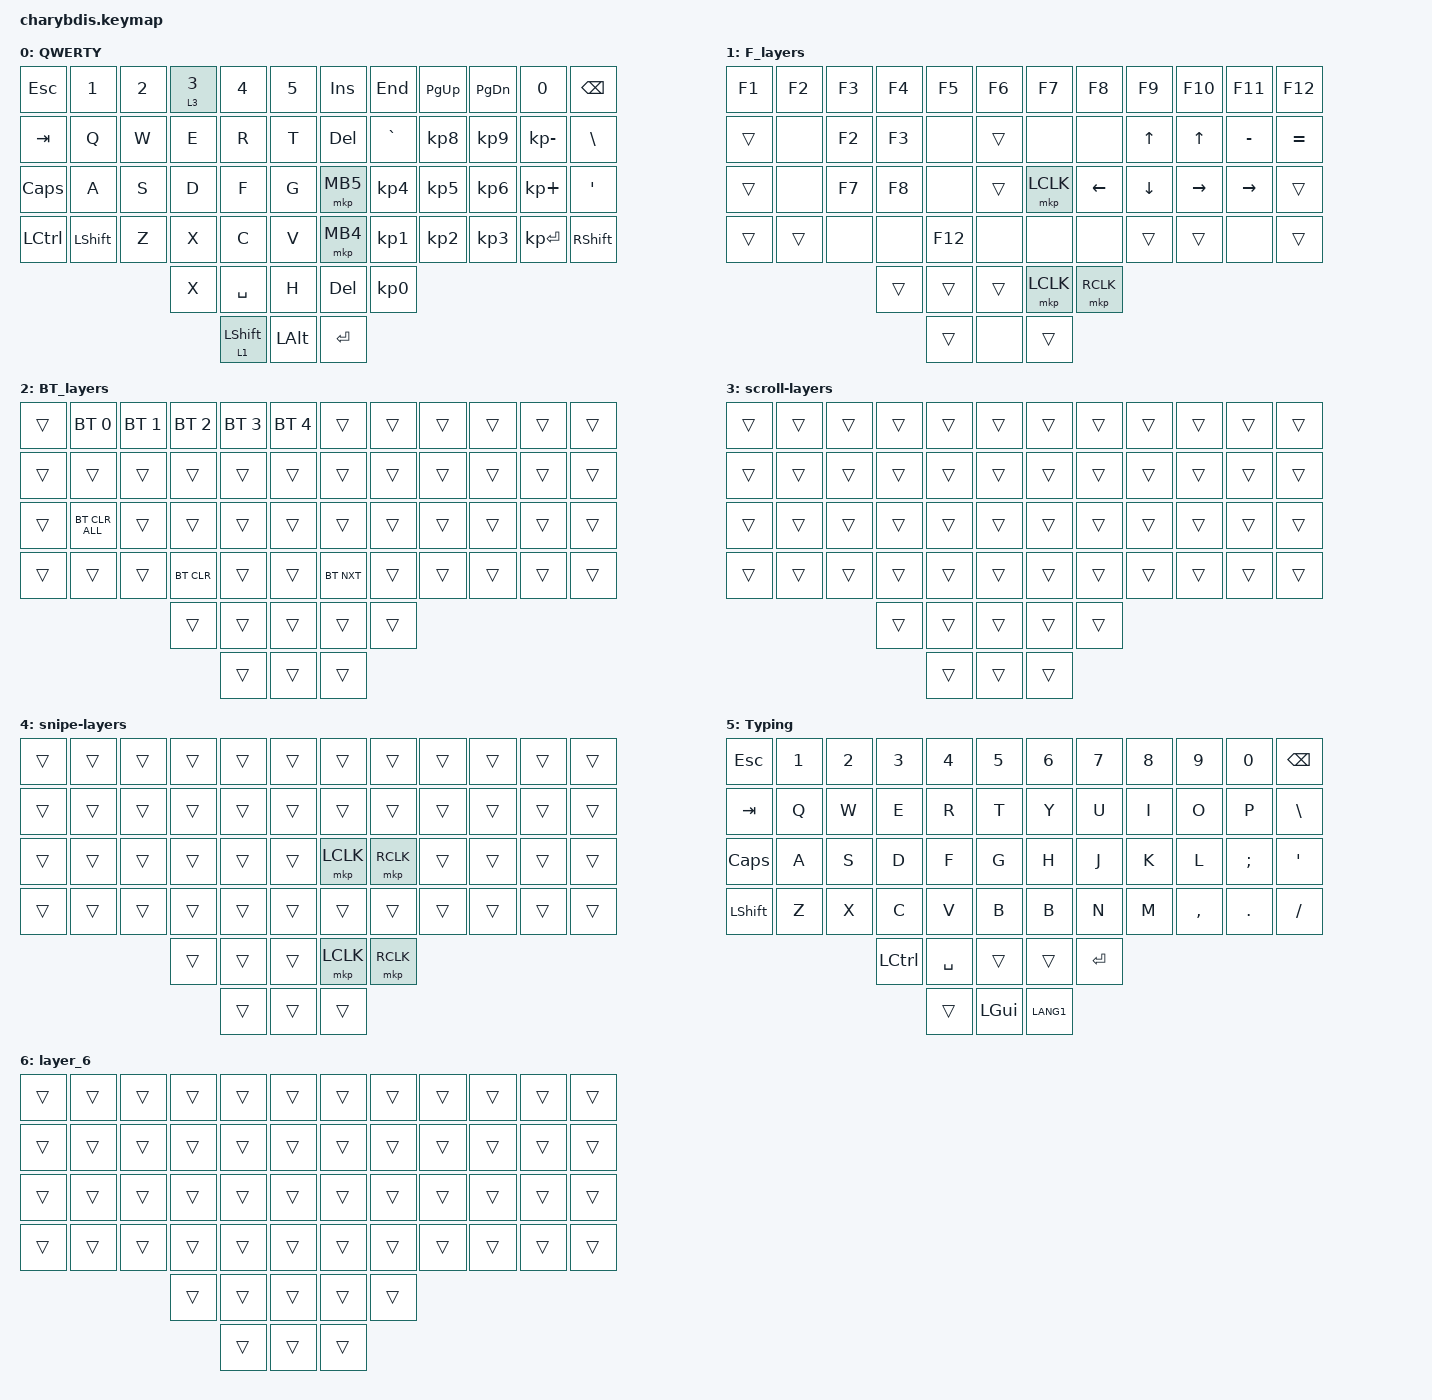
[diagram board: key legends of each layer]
#include <behaviors.dtsi>
#include <dt-bindings/zmk/bt.h>
#include <dt-bindings/zmk/keys.h>
#include <dt-bindings/zmk/pointing.h>
#include <dt-bindings/zmk/rgb.h>

&lt {
    tapping-term-ms = <200>;
    flavor = "balanced";
    quick-tap-ms = <150>;
};

/ {
    macros {
        To1_macro: To1_macro {
            compatible = "zmk,behavior-macro";
            label = "To1_macro";
            #binding-cells = <0>;
            bindings = <&rgb_ug RGB_EFF &rgb_ug RGB_COLOR_HSB(128,100,50) &to 1>;
        };

        To0_macro: To0_macro {
            compatible = "zmk,behavior-macro";
            label = "To0_macro";
            #binding-cells = <0>;
            bindings = <&rgb_ug RGB_EFR &to 0>;
        };

        To2_macro: To2_macro {
            compatible = "zmk,behavior-macro";
            label = "To2_macro";
            #binding-cells = <0>;
            bindings =
                <&to 2>,
                <&macro_wait_time 30>,
                <&rgb_ug RGB_COLOR_HSB(250,100,50)>;
        };
    };

    combos {
        compatible = "zmk,combos";

        Layertogle {
            bindings = <&tog 5>;
            key-positions = <30 19>;
        };

        leftclick {
            bindings = <&mkp LCLK>;
            key-positions = <43 44>;
        };

        rightclick {
            bindings = <&mkp RCLK>;
            key-positions = <44 45>;
        };

        q {
            bindings = <&kp COMMA>;
            key-positions = <25 14>;
            require-prior-idle-ms = <111>;
            timeout-ms = <35>;
        };

        w {
            bindings = <&kp F4>;
            key-positions = <25 15>;
            timeout-ms = <35>;
            require-prior-idle-ms = <111>;
        };

        e {
            bindings = <&kp F3>;
            key-positions = <25 16>;
            timeout-ms = <35>;
            require-prior-idle-ms = <111>;
        };

        a {
            bindings = <&kp I>;
            key-positions = <25 26>;
            timeout-ms = <35>;
            require-prior-idle-ms = <111>;
        };

        s {
            bindings = <&kp F7>;
            key-positions = <25 27>;
            timeout-ms = <35>;
            require-prior-idle-ms = <111>;
        };

        d {
            bindings = <&kp F8>;
            key-positions = <25 28>;
            timeout-ms = <35>;
            require-prior-idle-ms = <111>;
        };

        x {
            bindings = <&kp EQUAL>;
            key-positions = <25 39>;
            timeout-ms = <35>;
            require-prior-idle-ms = <111>;
        };

        c {
            bindings = <&kp RBKT>;
            key-positions = <25 40>;
            timeout-ms = <35>;
            require-prior-idle-ms = <111>;
        };

        v {
            bindings = <&kp F12>;
            key-positions = <25 41>;
            timeout-ms = <35>;
            require-prior-idle-ms = <111>;
        };

        scrolllayer {
            bindings = <&mo 3>;
            key-positions = <3 16>;
        };

        btl {
            bindings = <&tog 2>;
            key-positions = <35 47>;
        };
    };

    keymap {
        compatible = "zmk,keymap";

        QWERTY {
            bindings = <
&kp ESC       &kp N1          &kp N2  &lt 3 N3  &kp N4            &kp N5          &kp INS     &kp END          &kp PG_UP        &kp PG_DN        &kp N0        &kp BACKSPACE
&kp TAB       &kp Q           &kp W   &kp E     &kp R             &kp T           &kp DEL     &kp GRAVE        &kp KP_NUMBER_8  &kp KP_NUMBER_9  &kp KP_MINUS  &kp BSLH
&kp CAPSLOCK  &kp A           &kp S   &kp D     &kp F             &kp G           &mkp MB5    &kp KP_NUMBER_4  &kp KP_NUMBER_5  &kp KP_NUMBER_6  &kp KP_PLUS   &kp SQT
&kp LCTRL     &kp LEFT_SHIFT  &kp Z   &kp X     &kp C             &kp V           &mkp MB4    &kp KP_N1        &kp KP_N2        &kp KP_N3        &kp KP_ENTER  &kp RIGHT_SHIFT
                                      &kp X     &kp SPACE         &kp H           &kp DELETE  &kp KP_N0
                                                &lt 1 LEFT_SHIFT  &kp LEFT_ALT    &kp ENTER
            >;
        };

        F_layers {
            bindings = <
&kp F1  &kp F2  &kp F3  &kp F4  &kp F5   &kp F6    &kp F7     &kp F8     &kp F9    &kp F10       &kp F11    &kp F12
&trans  &none   &kp F2  &kp F3  &none    &trans    &none      &none      &kp UP    &kp UP_ARROW  &kp MINUS  &kp EQUAL
&trans  &none   &kp F7  &kp F8  &none    &trans    &mkp LCLK  &kp LEFT   &kp DOWN  &kp RIGHT     &kp RIGHT  &trans
&trans  &trans  &none   &none   &kp F12  &none     &none      &none      &trans    &trans        &none      &trans
                        &trans  &trans   &trans    &mkp LCLK  &mkp RCLK
                                &trans   &none     &trans
            >;
        };

        BT_layers {
            bindings = <
&trans  &bt BT_SEL 0    &bt BT_SEL 1  &bt BT_SEL 2  &bt BT_SEL 3  &bt BT_SEL 4    &trans      &trans  &trans  &trans  &trans  &trans
&trans  &trans          &trans        &trans        &trans        &trans          &trans      &trans  &trans  &trans  &trans  &trans
&trans  &bt BT_CLR_ALL  &trans        &trans        &trans        &trans          &trans      &trans  &trans  &trans  &trans  &trans
&trans  &trans          &trans        &bt BT_CLR    &trans        &trans          &bt BT_NXT  &trans  &trans  &trans  &trans  &trans
                                      &trans        &trans        &trans          &trans      &trans
                                                    &trans        &trans          &trans
            >;
        };

        scroll-layers {
            bindings = <
&trans  &trans  &trans  &trans  &trans  &trans    &trans  &trans  &trans  &trans  &trans  &trans
&trans  &trans  &trans  &trans  &trans  &trans    &trans  &trans  &trans  &trans  &trans  &trans
&trans  &trans  &trans  &trans  &trans  &trans    &trans  &trans  &trans  &trans  &trans  &trans
&trans  &trans  &trans  &trans  &trans  &trans    &trans  &trans  &trans  &trans  &trans  &trans
                        &trans  &trans  &trans    &trans  &trans
                                &trans  &trans    &trans
            >;
        };

        snipe-layers {
            bindings = <
&trans  &trans  &trans  &trans  &trans  &trans    &trans     &trans     &trans  &trans  &trans  &trans
&trans  &trans  &trans  &trans  &trans  &trans    &trans     &trans     &trans  &trans  &trans  &trans
&trans  &trans  &trans  &trans  &trans  &trans    &mkp LCLK  &mkp RCLK  &trans  &trans  &trans  &trans
&trans  &trans  &trans  &trans  &trans  &trans    &trans     &trans     &trans  &trans  &trans  &trans
                        &trans  &trans  &trans    &mkp LCLK  &mkp RCLK
                                &trans  &trans    &trans
            >;
        };

        Typing {
            bindings = <
&kp ESC    &kp N1  &kp N2  &kp N3     &kp N4     &kp N5      &kp N6     &kp N7     &kp N8  &kp N9     &kp N0      &kp BSPC
&kp TAB    &kp Q   &kp W   &kp E      &kp R      &kp T       &kp Y      &kp U      &kp I   &kp O      &kp P       &kp BSLH
&kp CAPS   &kp A   &kp S   &kp D      &kp F      &kp G       &kp H      &kp J      &kp K   &kp L      &kp SEMI    &kp APOS
&kp LSHFT  &kp Z   &kp X   &kp C      &kp V      &kp B       &kp B      &kp N      &kp M   &kp COMMA  &kp PERIOD  &kp FSLH
                           &kp LCTRL  &kp SPACE  &trans      &trans     &kp ENTER
                                      &trans     &kp LGUI    &kp LANG1
            >;
        };

        layer_6 {
            bindings = <
&trans  &trans  &trans  &trans  &trans  &trans    &trans  &trans  &trans  &trans  &trans  &trans
&trans  &trans  &trans  &trans  &trans  &trans    &trans  &trans  &trans  &trans  &trans  &trans
&trans  &trans  &trans  &trans  &trans  &trans    &trans  &trans  &trans  &trans  &trans  &trans
&trans  &trans  &trans  &trans  &trans  &trans    &trans  &trans  &trans  &trans  &trans  &trans
                        &trans  &trans  &trans    &trans  &trans
                                &trans  &trans    &trans
            >;
        };
    };
};
